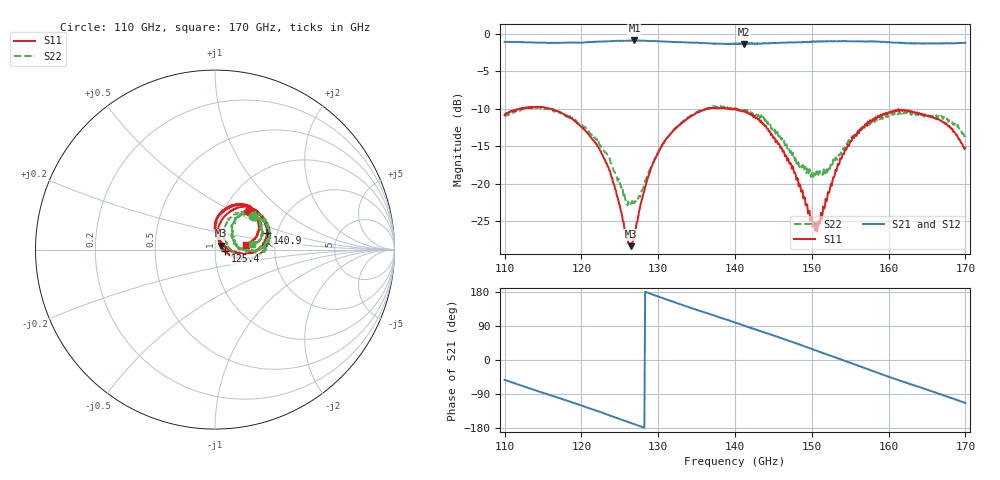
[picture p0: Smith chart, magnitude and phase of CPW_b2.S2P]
!  2-Port S-parameters saved by WinCal
! VAR NAME=CPW_b2
! VAR FILENAME=CPW_b2.S2P
! VAR DATE=10/12/2019 17:15:33
! VAR PHYS_PORTS=1,2
! VAR ObjTypeName=DATASET
! VAR IndexType=Frequency
# Hz S RI R 50
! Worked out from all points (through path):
!   601 points, 110 GHz to 170 GHz, reference 50 ohm
!   highest |S21| = -0.93 dB at 126.9 GHz (marker M1); lowest = -1.4 dB at 141.2 GHz (marker M2)
!   group delay of S21, straight-line fit = 19.5 ps
!   lowest |S11| = -28.3 dB at 126.4 GHz (marker M3), VSWR 1.08, Z = 53.3 + j2.26 ohm
!   |S11| at or under -10 dB: start of sweep to 112 GHz; 115.9 GHz to 136.6 GHz (20.68 GHz wide, 16.4 % of centre); 139.5 GHz to end of sweep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
!   |S22| runs from -22.9 to -9.7 dB; largest |S21 - S12| = 0.046
!   S11 on the Smith chart (normalised r, x): 110 GHz: 1.30, +0.61; 125.4 GHz: 1.12, -0.02; 140.9 GHz: 1.77, +0.37; 170 GHz: 1.41, +0.08
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1.1e11  0.188 0.2167  0.538 -0.6963  0.5598 -0.6781  0.2117 0.1866
1.149e11  0.3011 0.1198  0.0629 -0.8689  0.0884 -0.8632  0.2987 0.1014
1.2e11  0.2373 -0.0314  -0.4369 -0.7511  -0.4119 -0.767  0.2424 -0.0359
1.234e11  0.1226 -0.0456  -0.7204 -0.5188  -0.6981 -0.5474  0.1486 -0.0386
1.254e11  0.0557 -0.00844  -0.8317 -0.3259  -0.82 -0.3575  0.0903 0.000588
1.264e11  0.032 0.0212  -0.8715 -0.2185  -0.8595 -0.2497  0.0694 0.0241
1.269e11  0.0226 0.0387  -0.8837 -0.1646  -0.8752 -0.1941  0.0629 0.0396
1.285e11  0.0153 0.1018  -0.8914 0.0227  -0.8924 -0.0126  0.0494 0.0986
1.3e11  0.0338 0.1571  -0.8667 0.1924  -0.875 0.1493  0.0655 0.1458
1.346e11  0.1583 0.2391  -0.6164 0.6131  -0.6407 0.5844  0.1968 0.2143
1.4e11  0.2877 0.1274  -0.1328 0.8447  -0.1541 0.8403  0.2989 0.1062
1.409e11  0.2906 0.0935  -0.0429 0.8469  -0.0624 0.8498  0.2975 0.0788
1.412e11  0.2914 0.0844  -0.0125 0.8471  -0.0318 0.8523  0.3004 0.0735
1.46e11  0.1741 -0.0213  0.464 0.7352  0.4441 0.748  0.1975 0.00172
1.5e11  0.0572 0.0185  0.7751 0.4313  0.7537 0.456  0.114 0.0371
1.51e11  0.0293 0.045  0.8244 0.3251  0.8071 0.3633  0.11 0.0514
1.531e11  0.00122 0.1238  0.8819 0.1034  0.8776 0.1364  0.0949 0.1156
1.548e11  0.0165 0.1778  0.8839 -0.0923  0.8855 -0.0519  0.1158 0.1568
1.573e11  0.0858 0.2447  0.8061 -0.3609  0.824 -0.3223  0.1455 0.199
1.6e11  0.1621 0.251  0.6264 -0.6107  0.6551 -0.5813  0.2108 0.1931
1.653e11  0.2433 0.1397  0.1419 -0.8503  0.1673 -0.8474  0.2564 0.1136
1.7e11  0.1713 0.0282  -0.346 -0.7951  -0.3235 -0.8013  0.2053 0.0336
